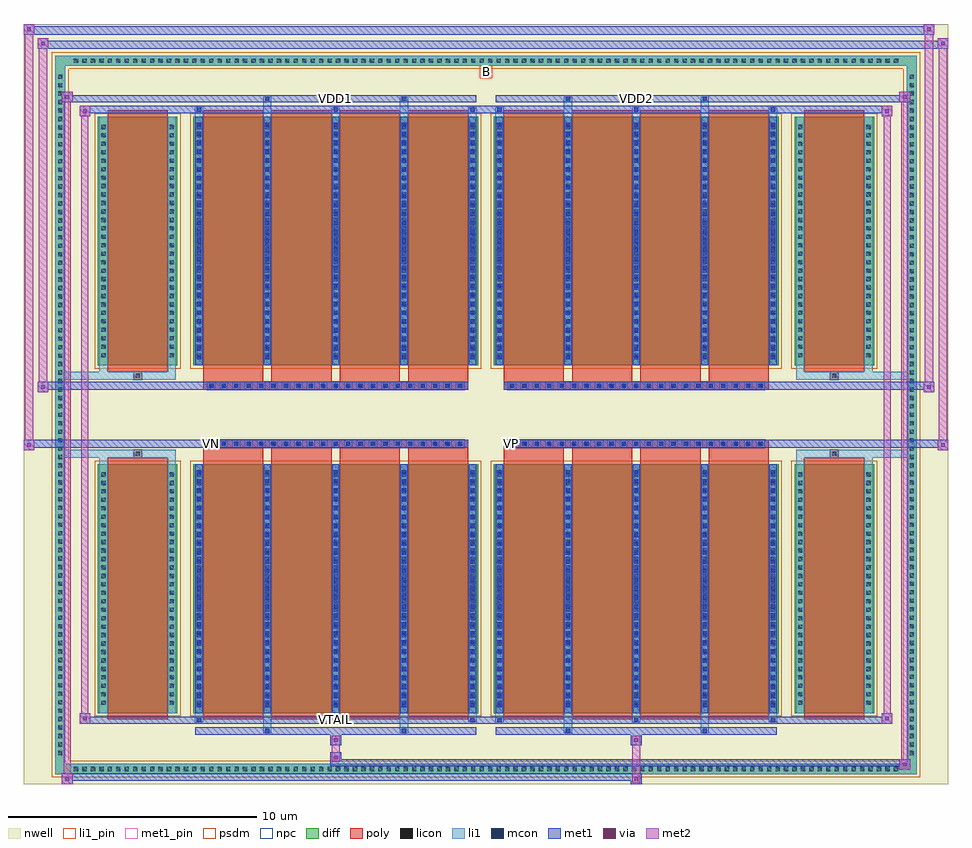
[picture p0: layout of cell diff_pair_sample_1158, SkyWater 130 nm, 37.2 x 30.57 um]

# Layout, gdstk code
import gdstk
lib = gdstk.Library(unit=1e-6, precision=5e-09)
def R(c, l, rs):  # rectangles x0, y0, x1, y1
    for r in rs: c.add(gdstk.rectangle(r[:2], r[2:], *l))
def A(c, l, x, y, w, h, nx, ny, dx, dy):  # array of equal rectangles
    R(c, l, [(x+i*dx, y+j*dy, x+i*dx+w, y+j*dy+h) for i in range(nx) for j in range(ny)])
def P(c, l, *ps):  # polygons
    for p in ps: c.add(gdstk.Polygon(p, *l))
nwell = (64, 20)
diff = (65, 20)
poly = (66, 20)
licon = (66, 44)
li1_pin = (67, 16)
li1 = (67, 20)
mcon = (67, 44)
met1_pin = (68, 16)
met1 = (68, 20)
via = (68, 44)
met2 = (69, 20)
psdm = (94, 20)
npc = (95, 20)

diff_pair_sample_1158 = lib.new_cell('diff_pair_sample_1158')
R(diff_pair_sample_1158, nwell, [(-18.6,-14.85,18.6,15.72), (-15.92,-13.04,-0.01,-0.8), (0.01,-13.04,15.92,-0.8), (-15.92,0.8,-0.01,13.04), (0.01,0.8,15.92,13.04)])
A(diff_pair_sample_1158, diff, -16.695, -14.45, 0.41, 0.41, 98, 2, 0.34, 28.49)
A(diff_pair_sample_1158, diff, -17.33, -13.805, 0.41, 0.41, 1, 81, 0, 0.34)
A(diff_pair_sample_1158, diff, 16.92, -13.805, 0.41, 0.41, 1, 81, 0, 0.34)
R(diff_pair_sample_1158, diff, [(-16.695,-14.45,16.695,-14.04), (-17.33,-13.805,-16.92,13.805), (16.92,-13.805,17.33,13.805), (-15.61,-11.995,-12.41,-1.985), (-11.77,-11.995,-0.32,-1.985), (0.32,-11.995,11.77,-1.985), (12.41,-11.995,15.61,-1.985), (-15.61,1.985,-12.41,11.995), (-11.77,1.985,-0.32,11.995), (0.32,1.985,11.77,11.995), (12.41,1.985,15.61,11.995), (-16.695,14.04,16.695,14.45)])
P(diff_pair_sample_1158, diff, [(17.33,14.45),(-17.33,14.45),(-17.33,-14.04),(-16.92,-14.04),(-16.92,14.04),(16.92,14.04),(16.92,-14.04),(-16.92,-14.04),(-17.33,-14.04),(-17.33,-14.45),(17.33,-14.45)])
A(diff_pair_sample_1158, poly, -11.38, -12.245, 2.42, 10.51, 4, 2, 2.75, 13.98)
A(diff_pair_sample_1158, poly, 0.71, -12.245, 2.42, 10.51, 4, 2, 2.75, 13.98)
A(diff_pair_sample_1158, poly, -11.38, -1.735, 2.42, 0.405, 4, 2, 2.75, 3.065)
A(diff_pair_sample_1158, poly, 0.71, -1.735, 2.42, 0.405, 4, 2, 2.75, 3.065)
A(diff_pair_sample_1158, poly, -11.21, -1.33, 0.33, 0.33, 21, 2, 0.5, 2.33)
A(diff_pair_sample_1158, poly, 0.88, -1.33, 0.33, 0.33, 21, 2, 0.5, 2.33)
R(diff_pair_sample_1158, poly, [(-15.22,-12.245,-12.8,-1.735), (12.8,-12.245,15.22,-1.735), (-14.175,-1.735,-13.845,-1.405), (-14.175,-1.735,-13.845,-1.405), (13.845,-1.735,14.175,-1.405), (13.845,-1.735,14.175,-1.405), (-11.38,-1.33,-0.71,-1), (0.71,-1.33,11.38,-1), (-11.38,1,-0.71,1.33), (0.71,1,11.38,1.33), (-14.175,1.405,-13.845,1.735), (-14.175,1.405,-13.845,1.735), (13.845,1.405,14.175,1.735), (13.845,1.405,14.175,1.735), (-15.22,1.735,-12.8,12.245), (12.8,1.735,15.22,12.245)])
A(diff_pair_sample_1158, licon, -16.575, -14.33, 0.17, 0.17, 98, 2, 0.34, 28.49)
A(diff_pair_sample_1158, licon, -17.21, -13.685, 0.17, 0.17, 1, 81, 0, 0.34)
A(diff_pair_sample_1158, licon, 17.04, -13.685, 0.17, 0.17, 1, 81, 0, 0.34)
A(diff_pair_sample_1158, licon, -15.47, -11.665, 0.17, 0.17, 1, 28, 0, 0.34)
A(diff_pair_sample_1158, licon, -12.72, -11.665, 0.17, 0.17, 1, 28, 0, 0.34)
A(diff_pair_sample_1158, licon, -11.63, -11.665, 0.17, 0.17, 5, 28, 2.75, 0.34)
A(diff_pair_sample_1158, licon, 0.46, -11.665, 0.17, 0.17, 5, 28, 2.75, 0.34)
A(diff_pair_sample_1158, licon, 12.55, -11.665, 0.17, 0.17, 1, 28, 0, 0.34)
A(diff_pair_sample_1158, licon, 15.3, -11.665, 0.17, 0.17, 1, 28, 0, 0.34)
A(diff_pair_sample_1158, licon, -11.13, -1.25, 0.17, 0.17, 21, 2, 0.5, 2.33)
A(diff_pair_sample_1158, licon, 0.96, -1.25, 0.17, 0.17, 21, 2, 0.5, 2.33)
A(diff_pair_sample_1158, licon, -15.47, 2.315, 0.17, 0.17, 1, 28, 0, 0.34)
A(diff_pair_sample_1158, licon, -12.72, 2.315, 0.17, 0.17, 1, 28, 0, 0.34)
A(diff_pair_sample_1158, licon, -11.63, 2.315, 0.17, 0.17, 5, 28, 2.75, 0.34)
A(diff_pair_sample_1158, licon, 0.46, 2.315, 0.17, 0.17, 5, 28, 2.75, 0.34)
A(diff_pair_sample_1158, licon, 12.55, 2.315, 0.17, 0.17, 1, 28, 0, 0.34)
A(diff_pair_sample_1158, licon, 15.3, 2.315, 0.17, 0.17, 1, 28, 0, 0.34)
R(diff_pair_sample_1158, licon, [(-14.095,-1.655,-13.925,-1.485), (13.925,-1.655,14.095,-1.485), (-14.095,1.485,-13.925,1.655), (13.925,1.485,14.095,1.655)])
R(diff_pair_sample_1158, li1_pin, [(-0.25,13.54,0.25,14.04)])
A(diff_pair_sample_1158, li1, -16.655, -14.41, 0.33, 0.33, 98, 2, 0.34, 28.49)
A(diff_pair_sample_1158, li1, -17.29, -13.765, 0.33, 0.33, 1, 81, 0, 0.34)
A(diff_pair_sample_1158, li1, 16.96, -13.765, 0.33, 0.33, 1, 81, 0, 0.34)
A(diff_pair_sample_1158, li1, -11.71, -12.37, 0.33, 0.375, 3, 2, 5.5, 24.365)
A(diff_pair_sample_1158, li1, -11.63, -12.37, 0.17, 0.17, 3, 2, 5.5, 24.57)
A(diff_pair_sample_1158, li1, 0.38, -12.37, 0.33, 0.375, 3, 2, 5.5, 24.365)
A(diff_pair_sample_1158, li1, 0.46, -12.37, 0.17, 0.17, 3, 2, 5.5, 24.57)
A(diff_pair_sample_1158, li1, -11.71, -11.995, 0.33, 10.01, 5, 2, 2.75, 13.98)
A(diff_pair_sample_1158, li1, 0.38, -11.995, 0.33, 10.01, 5, 2, 2.75, 13.98)
A(diff_pair_sample_1158, li1, -11.63, -11.755, 0.17, 0.17, 5, 27, 2.75, 0.36)
A(diff_pair_sample_1158, li1, -11.63, -11.755, 0.17, 9.53, 5, 2, 2.75, 13.98)
A(diff_pair_sample_1158, li1, 0.46, -11.755, 0.17, 0.17, 5, 27, 2.75, 0.36)
A(diff_pair_sample_1158, li1, 0.46, -11.755, 0.17, 9.53, 5, 2, 2.75, 13.98)
A(diff_pair_sample_1158, li1, -15.55, -11.745, 0.33, 0.33, 1, 28, 0, 0.34)
A(diff_pair_sample_1158, li1, -12.8, -11.745, 0.33, 0.33, 1, 28, 0, 0.34)
A(diff_pair_sample_1158, li1, -11.71, -11.745, 0.33, 0.33, 5, 28, 2.75, 0.34)
A(diff_pair_sample_1158, li1, 0.38, -11.745, 0.33, 0.33, 5, 28, 2.75, 0.34)
A(diff_pair_sample_1158, li1, 12.47, -11.745, 0.33, 0.33, 1, 28, 0, 0.34)
A(diff_pair_sample_1158, li1, 15.22, -11.745, 0.33, 0.33, 1, 28, 0, 0.34)
A(diff_pair_sample_1158, li1, -11.21, -1.33, 0.33, 0.33, 21, 2, 0.5, 2.33)
A(diff_pair_sample_1158, li1, 0.88, -1.33, 0.33, 0.33, 21, 2, 0.5, 2.33)
A(diff_pair_sample_1158, li1, -11.63, 2.225, 0.17, 0.17, 5, 27, 2.75, 0.36)
A(diff_pair_sample_1158, li1, 0.46, 2.225, 0.17, 0.17, 5, 27, 2.75, 0.36)
A(diff_pair_sample_1158, li1, -15.55, 2.235, 0.33, 0.33, 1, 28, 0, 0.34)
A(diff_pair_sample_1158, li1, -12.8, 2.235, 0.33, 0.33, 1, 28, 0, 0.34)
A(diff_pair_sample_1158, li1, -11.71, 2.235, 0.33, 0.33, 5, 28, 2.75, 0.34)
A(diff_pair_sample_1158, li1, 0.38, 2.235, 0.33, 0.33, 5, 28, 2.75, 0.34)
A(diff_pair_sample_1158, li1, 12.47, 2.235, 0.33, 0.33, 1, 28, 0, 0.34)
A(diff_pair_sample_1158, li1, 15.22, 2.235, 0.33, 0.33, 1, 28, 0, 0.34)
R(diff_pair_sample_1158, li1, [(-17.33,-14.45,-16.92,-14.04), (-17.33,-14.45,-16.92,-14.04), (-16.92,-14.45,16.92,-14.04), (16.92,-14.45,17.33,-14.04), (16.92,-14.45,17.33,-14.04), (-17.33,-14.04,-16.92,14.04), (16.92,-14.04,17.33,14.04), (-8.96,-12.8,-8.63,-11.995), (-8.88,-12.8,-8.71,-12.63), (-3.46,-12.8,-3.13,-11.995), (-3.38,-12.8,-3.21,-12.63), (3.13,-12.8,3.46,-11.995), (3.21,-12.8,3.38,-12.63), (8.63,-12.8,8.96,-11.995), (8.71,-12.8,8.88,-12.63), (-15.55,-11.995,-15.22,-1.985), (-12.8,-11.995,-12.47,-1.985), (12.47,-11.995,12.8,-1.985), (15.22,-11.995,15.55,-1.985), (-15.55,-1.985,-15.22,-1.405), (-12.8,-1.985,-12.47,-1.405), (12.47,-1.985,12.8,-1.405), (15.22,-1.985,15.55,-1.405), (-17.33,-1.735,-14.175,-1.405), (-15.55,-1.735,-14.175,-1.405), (-14.175,-1.735,-13.845,-1.405), (-13.845,-1.735,-12.47,-1.405), (12.47,-1.735,13.845,-1.405), (13.845,-1.735,14.175,-1.405), (13.845,-1.735,17.33,-1.405), (14.175,-1.735,15.55,-1.405), (-17.33,1.405,-14.175,1.735), (-15.55,1.405,-14.175,1.735), (-15.55,1.405,-15.22,1.985), (-14.175,1.405,-13.845,1.735), (-13.845,1.405,-12.47,1.735), (-12.8,1.405,-12.47,1.985), (12.47,1.405,13.845,1.735), (12.47,1.405,12.8,1.985), (13.845,1.405,14.175,1.735), (13.845,1.405,17.33,1.735), (14.175,1.405,15.55,1.735), (15.22,1.405,15.55,1.985), (-15.55,1.985,-15.22,11.995), (-12.8,1.985,-12.47,11.995), (12.47,1.985,12.8,11.995), (15.22,1.985,15.55,11.995), (-8.96,11.995,-8.63,12.8), (-3.46,11.995,-3.13,12.8), (3.13,11.995,3.46,12.8), (8.63,11.995,8.96,12.8), (-8.88,12.63,-8.71,12.8), (-3.38,12.63,-3.21,12.8), (3.21,12.63,3.38,12.8), (8.71,12.63,8.88,12.8), (-17.33,14.04,-16.92,14.45), (-17.33,14.04,-16.92,14.45), (-16.92,14.04,16.92,14.45), (16.92,14.04,17.33,14.45), (16.92,14.04,17.33,14.45)])
A(diff_pair_sample_1158, mcon, -11.63, -12.37, 0.17, 0.17, 3, 2, 5.5, 24.57)
A(diff_pair_sample_1158, mcon, 0.46, -12.37, 0.17, 0.17, 3, 2, 5.5, 24.57)
A(diff_pair_sample_1158, mcon, -11.63, -11.755, 0.17, 0.17, 5, 27, 2.75, 0.36)
A(diff_pair_sample_1158, mcon, 0.46, -11.755, 0.17, 0.17, 5, 27, 2.75, 0.36)
A(diff_pair_sample_1158, mcon, -11.13, -1.25, 0.17, 0.17, 21, 2, 0.5, 2.33)
A(diff_pair_sample_1158, mcon, 0.96, -1.25, 0.17, 0.17, 21, 2, 0.5, 2.33)
A(diff_pair_sample_1158, mcon, -11.63, 2.225, 0.17, 0.17, 5, 27, 2.75, 0.36)
A(diff_pair_sample_1158, mcon, 0.46, 2.225, 0.17, 0.17, 5, 27, 2.75, 0.36)
R(diff_pair_sample_1158, mcon, [(-8.88,-12.8,-8.71,-12.63), (-3.38,-12.8,-3.21,-12.63), (3.21,-12.8,3.38,-12.63), (8.71,-12.8,8.88,-12.63), (-8.88,12.63,-8.71,12.8), (-3.38,12.63,-3.21,12.8), (3.21,12.63,3.38,12.8), (8.71,12.63,8.88,12.8)])
R(diff_pair_sample_1158, met1_pin, [(-6.18,-12.41,-5.91,-12.14), (-11.18,-1.29,-10.91,-1.02), (0.91,-1.29,1.18,-1.02), (-6.18,12.59,-5.91,12.86), (5.91,12.59,6.18,12.86)])
A(diff_pair_sample_1158, met1, -11.69, -12.43, 0.29, 0.29, 3, 2, 5.5, 24.57)
A(diff_pair_sample_1158, met1, 0.4, -12.43, 0.29, 0.29, 3, 2, 5.5, 24.57)
A(diff_pair_sample_1158, met1, -11.69, -11.995, 0.29, 10.01, 5, 2, 2.75, 13.98)
A(diff_pair_sample_1158, met1, 0.4, -11.995, 0.29, 10.01, 5, 2, 2.75, 13.98)
A(diff_pair_sample_1158, met1, -11.69, -11.815, 0.29, 0.29, 5, 27, 2.75, 0.36)
A(diff_pair_sample_1158, met1, 0.4, -11.815, 0.29, 0.29, 5, 27, 2.75, 0.36)
A(diff_pair_sample_1158, met1, -11.19, -1.31, 0.29, 0.29, 21, 2, 0.5, 2.33)
A(diff_pair_sample_1158, met1, 0.9, -1.31, 0.29, 0.29, 21, 2, 0.5, 2.33)
A(diff_pair_sample_1158, met1, -11.69, 2.165, 0.29, 0.29, 5, 27, 2.75, 0.36)
A(diff_pair_sample_1158, met1, 0.4, 2.165, 0.29, 0.29, 5, 27, 2.75, 0.36)
R(diff_pair_sample_1158, met1, [(-17.06,-14.85,-16.63,-14.42), (5.83,-14.85,6.26,-14.42), (-17.06,-14.71,6.26,-14.42), (16.63,-14.28,17.06,-13.85), (-6.26,-14.14,17.06,-13.85), (-6.26,-14,-5.83,-13.57), (-6.26,-13.29,-5.83,-12.86), (5.83,-13.29,6.26,-12.86), (-11.69,-12.86,-0.4,-12.57), (-8.94,-12.86,-8.65,-12.57), (-3.44,-12.86,-3.15,-12.57), (0.4,-12.86,11.69,-12.57), (3.15,-12.86,3.44,-12.57), (8.65,-12.86,8.94,-12.57), (-16.35,-12.43,-15.92,-12), (-16.35,-12.43,-11.69,-12.14), (-11.69,-12.43,-0.4,-12.14), (-0.4,-12.43,0.4,-12.14), (0.4,-12.43,11.69,-12.14), (11.69,-12.43,16.35,-12.14), (15.92,-12.43,16.35,-12), (-18.6,-1.43,-18.17,-1), (18.17,-1.43,18.6,-1), (-18.6,-1.33,-0.71,-1), (-11.38,-1.33,-0.71,-1), (0.71,-1.33,11.38,-1), (0.71,-1.33,18.6,-1), (-18.03,0.9,-17.6,1.33), (17.6,0.9,18.03,1.33), (-18.03,1,-11.38,1.33), (-11.38,1,-0.71,1.33), (0.71,1,11.38,1.33), (11.38,1,18.03,1.33), (-16.35,12,-15.92,12.43), (15.92,12,16.35,12.43), (-16.35,12.14,-11.69,12.43), (-11.69,12.14,-0.4,12.43), (-0.4,12.14,0.4,12.43), (0.4,12.14,11.69,12.43), (11.69,12.14,16.35,12.43), (-17.06,12.57,-16.63,13), (-17.06,12.57,-11.69,12.86), (-11.69,12.57,-0.4,12.86), (-8.94,12.57,-8.65,12.86), (-3.44,12.57,-3.15,12.86), (0.4,12.57,11.69,12.86), (3.15,12.57,3.44,12.86), (8.65,12.57,8.94,12.86), (11.69,12.57,17.06,12.86), (16.63,12.57,17.06,13), (-18.03,14.72,-17.6,15.15), (-18.03,14.72,-15.92,15.05), (-15.92,14.72,15.92,15.05), (15.92,14.72,18.6,15.05), (18.17,14.72,18.6,15.15), (-18.6,15.29,-18.17,15.72), (-18.6,15.29,-15.92,15.62), (-15.92,15.29,15.92,15.62), (15.92,15.29,18.03,15.62), (17.6,15.29,18.03,15.72)])
R(diff_pair_sample_1158, via, [(-16.92,-14.71,-16.77,-14.56), (5.97,-14.71,6.12,-14.56), (16.77,-14.14,16.92,-13.99), (-6.12,-13.86,-5.97,-13.71), (-6.12,-13.15,-5.97,-13), (5.97,-13.15,6.12,-13), (-16.21,-12.29,-16.06,-12.14), (16.06,-12.29,16.21,-12.14), (-18.46,-1.29,-18.31,-1.14), (18.31,-1.29,18.46,-1.14), (-17.89,1.04,-17.74,1.19), (17.74,1.04,17.89,1.19), (-16.21,12.14,-16.06,12.29), (16.06,12.14,16.21,12.29), (-16.92,12.71,-16.77,12.86), (16.77,12.71,16.92,12.86), (-17.89,14.86,-17.74,15.01), (18.31,14.86,18.46,15.01), (-18.46,15.43,-18.31,15.58), (17.74,15.43,17.89,15.58)])
R(diff_pair_sample_1158, met2, [(-17.06,-14.85,-16.63,-14.42), (-16.99,-14.85,-16.7,13), (-16.7,-14.85,-16.63,-14.42), (-17.01,-14.8,-16.68,-14.47), (5.88,-14.8,6.21,-14.47), (5.88,-14.47,6.21,-13.24), (16.63,-14.28,17.06,-13.85), (16.7,-14.28,16.99,13), (16.99,-14.28,17.06,-13.85), (16.68,-14.23,17.01,-13.9), (-6.21,-13.95,-5.88,-13.62), (-6.21,-13.62,-5.88,-13.24), (-6.21,-13.24,-5.88,-12.91), (5.88,-13.24,6.21,-12.91), (-16.35,-12.43,-15.92,-12), (-16.28,-12.43,-15.99,12.43), (-15.99,-12.43,-15.92,-12), (15.92,-12.43,16.35,-12), (15.99,-12.43,16.28,12.43), (16.28,-12.43,16.35,-12), (-16.3,-12.38,-15.97,-12.05), (15.97,-12.38,16.3,-12.05), (-18.6,-1.43,-18.17,-1), (-18.55,-1.43,-18.22,15.72), (-18.22,-1.43,-18.17,-1), (18.17,-1.43,18.6,-1), (18.22,-1.43,18.55,15.15), (18.55,-1.43,18.6,-1), (-18.55,-1.38,-18.22,-1.05), (18.22,-1.38,18.55,-1.05), (-18.03,0.9,-17.6,1.33), (-17.98,0.9,-17.65,15.15), (-17.65,0.9,-17.6,1.33), (17.6,0.9,18.03,1.33), (17.65,0.9,17.98,15.72), (17.98,0.9,18.03,1.33), (-17.98,0.95,-17.65,1.28), (17.65,0.95,17.98,1.28), (-16.35,12,-15.92,12.43), (-15.99,12,-15.92,12.43), (15.92,12,16.35,12.43), (16.28,12,16.35,12.43), (-16.3,12.05,-15.97,12.38), (15.97,12.05,16.3,12.38), (-17.06,12.57,-16.63,13), (-16.7,12.57,-16.63,13), (16.63,12.57,17.06,13), (16.99,12.57,17.06,13), (-17.01,12.62,-16.68,12.95), (16.68,12.62,17.01,12.95), (-18.03,14.72,-17.6,15.15), (-17.65,14.72,-17.6,15.15), (18.17,14.72,18.6,15.15), (18.55,14.72,18.6,15.15), (-17.98,14.77,-17.65,15.1), (18.22,14.77,18.55,15.1), (-18.6,15.29,-18.17,15.72), (-18.22,15.29,-18.17,15.72), (17.6,15.29,18.03,15.72), (17.98,15.29,18.03,15.72), (-18.55,15.34,-18.22,15.67), (17.65,15.34,17.98,15.67)])
R(diff_pair_sample_1158, psdm, [(-15.74,-12.125,-12.28,-1.855), (-11.9,-12.125,-0.19,-1.855), (0.19,-12.125,11.9,-1.855), (12.28,-12.125,15.74,-1.855), (-15.74,1.855,-12.28,12.125), (-11.9,1.855,-0.19,12.125), (0.19,1.855,11.9,12.125), (12.28,1.855,15.74,12.125)])
P(diff_pair_sample_1158, psdm, [(17.46,14.58),(-17.46,14.58),(-17.46,-13.91),(-16.79,-13.91),(-16.79,13.91),(16.79,13.91),(16.79,-13.91),(-16.79,-13.91),(-17.46,-13.91),(-17.46,-14.58),(17.46,-14.58)])
A(diff_pair_sample_1158, npc, -11.23, -1.35, 0.37, 0.37, 21, 2, 0.5, 2.33)
A(diff_pair_sample_1158, npc, 0.86, -1.35, 0.37, 0.37, 21, 2, 0.5, 2.33)
R(diff_pair_sample_1158, npc, [(-14.195,-1.755,-13.825,-1.385), (13.825,-1.755,14.195,-1.385), (-11.23,-1.35,-10.36,-0.98), (-11.23,-1.35,-10.36,-0.98), (-10.73,-1.35,-9.86,-0.98), (-10.73,-1.35,-9.86,-0.98), (-10.23,-1.35,-9.36,-0.98), (-10.23,-1.35,-9.36,-0.98), (-9.73,-1.35,-8.86,-0.98), (-9.73,-1.35,-8.86,-0.98), (-9.23,-1.35,-8.36,-0.98), (-9.23,-1.35,-8.36,-0.98), (-8.73,-1.35,-7.86,-0.98), (-8.73,-1.35,-7.86,-0.98), (-8.23,-1.35,-7.36,-0.98), (-8.23,-1.35,-7.36,-0.98), (-7.73,-1.35,-6.86,-0.98), (-7.73,-1.35,-6.86,-0.98), (-7.23,-1.35,-6.36,-0.98), (-7.23,-1.35,-6.36,-0.98), (-6.73,-1.35,-5.86,-0.98), (-6.73,-1.35,-5.86,-0.98), (-6.23,-1.35,-5.36,-0.98), (-6.23,-1.35,-5.36,-0.98), (-5.73,-1.35,-4.86,-0.98), (-5.73,-1.35,-4.86,-0.98), (-5.23,-1.35,-4.36,-0.98), (-5.23,-1.35,-4.36,-0.98), (-4.73,-1.35,-3.86,-0.98), (-4.73,-1.35,-3.86,-0.98), (-4.23,-1.35,-3.36,-0.98), (-4.23,-1.35,-3.36,-0.98), (-3.73,-1.35,-2.86,-0.98), (-3.73,-1.35,-2.86,-0.98), (-3.23,-1.35,-2.36,-0.98), (-3.23,-1.35,-2.36,-0.98), (-2.73,-1.35,-1.86,-0.98), (-2.73,-1.35,-1.86,-0.98), (-2.23,-1.35,-1.36,-0.98), (-2.23,-1.35,-1.36,-0.98), (-1.73,-1.35,-0.86,-0.98), (-1.73,-1.35,-0.86,-0.98), (0.86,-1.35,1.73,-0.98), (0.86,-1.35,1.73,-0.98), (1.36,-1.35,2.23,-0.98), (1.36,-1.35,2.23,-0.98), (1.86,-1.35,2.73,-0.98), (1.86,-1.35,2.73,-0.98), (2.36,-1.35,3.23,-0.98), (2.36,-1.35,3.23,-0.98), (2.86,-1.35,3.73,-0.98), (2.86,-1.35,3.73,-0.98), (3.36,-1.35,4.23,-0.98), (3.36,-1.35,4.23,-0.98), (3.86,-1.35,4.73,-0.98), (3.86,-1.35,4.73,-0.98), (4.36,-1.35,5.23,-0.98), (4.36,-1.35,5.23,-0.98), (4.86,-1.35,5.73,-0.98), (4.86,-1.35,5.73,-0.98), (5.36,-1.35,6.23,-0.98), (5.36,-1.35,6.23,-0.98), (5.86,-1.35,6.73,-0.98), (5.86,-1.35,6.73,-0.98), (6.36,-1.35,7.23,-0.98), (6.36,-1.35,7.23,-0.98), (6.86,-1.35,7.73,-0.98), (6.86,-1.35,7.73,-0.98), (7.36,-1.35,8.23,-0.98), (7.36,-1.35,8.23,-0.98), (7.86,-1.35,8.73,-0.98), (7.86,-1.35,8.73,-0.98), (8.36,-1.35,9.23,-0.98), (8.36,-1.35,9.23,-0.98), (8.86,-1.35,9.73,-0.98), (8.86,-1.35,9.73,-0.98), (9.36,-1.35,10.23,-0.98), (9.36,-1.35,10.23,-0.98), (9.86,-1.35,10.73,-0.98), (9.86,-1.35,10.73,-0.98), (10.36,-1.35,11.23,-0.98), (10.36,-1.35,11.23,-0.98), (-11.23,0.98,-10.36,1.35), (-11.23,0.98,-10.36,1.35), (-10.73,0.98,-9.86,1.35), (-10.73,0.98,-9.86,1.35), (-10.23,0.98,-9.36,1.35), (-10.23,0.98,-9.36,1.35), (-9.73,0.98,-8.86,1.35), (-9.73,0.98,-8.86,1.35), (-9.23,0.98,-8.36,1.35), (-9.23,0.98,-8.36,1.35), (-8.73,0.98,-7.86,1.35), (-8.73,0.98,-7.86,1.35), (-8.23,0.98,-7.36,1.35), (-8.23,0.98,-7.36,1.35), (-7.73,0.98,-6.86,1.35), (-7.73,0.98,-6.86,1.35), (-7.23,0.98,-6.36,1.35), (-7.23,0.98,-6.36,1.35), (-6.73,0.98,-5.86,1.35), (-6.73,0.98,-5.86,1.35), (-6.23,0.98,-5.36,1.35), (-6.23,0.98,-5.36,1.35), (-5.73,0.98,-4.86,1.35), (-5.73,0.98,-4.86,1.35), (-5.23,0.98,-4.36,1.35), (-5.23,0.98,-4.36,1.35), (-4.73,0.98,-3.86,1.35), (-4.73,0.98,-3.86,1.35), (-4.23,0.98,-3.36,1.35), (-4.23,0.98,-3.36,1.35), (-3.73,0.98,-2.86,1.35), (-3.73,0.98,-2.86,1.35), (-3.23,0.98,-2.36,1.35), (-3.23,0.98,-2.36,1.35), (-2.73,0.98,-1.86,1.35), (-2.73,0.98,-1.86,1.35), (-2.23,0.98,-1.36,1.35), (-2.23,0.98,-1.36,1.35), (-1.73,0.98,-0.86,1.35), (-1.73,0.98,-0.86,1.35), (0.86,0.98,1.73,1.35), (0.86,0.98,1.73,1.35), (1.36,0.98,2.23,1.35), (1.36,0.98,2.23,1.35), (1.86,0.98,2.73,1.35), (1.86,0.98,2.73,1.35), (2.36,0.98,3.23,1.35), (2.36,0.98,3.23,1.35), (2.86,0.98,3.73,1.35), (2.86,0.98,3.73,1.35), (3.36,0.98,4.23,1.35), (3.36,0.98,4.23,1.35), (3.86,0.98,4.73,1.35), (3.86,0.98,4.73,1.35), (4.36,0.98,5.23,1.35), (4.36,0.98,5.23,1.35), (4.86,0.98,5.73,1.35), (4.86,0.98,5.73,1.35), (5.36,0.98,6.23,1.35), (5.36,0.98,6.23,1.35), (5.86,0.98,6.73,1.35), (5.86,0.98,6.73,1.35), (6.36,0.98,7.23,1.35), (6.36,0.98,7.23,1.35), (6.86,0.98,7.73,1.35), (6.86,0.98,7.73,1.35), (7.36,0.98,8.23,1.35), (7.36,0.98,8.23,1.35), (7.86,0.98,8.73,1.35), (7.86,0.98,8.73,1.35), (8.36,0.98,9.23,1.35), (8.36,0.98,9.23,1.35), (8.86,0.98,9.73,1.35), (8.86,0.98,9.73,1.35), (9.36,0.98,10.23,1.35), (9.36,0.98,10.23,1.35), (9.86,0.98,10.73,1.35), (9.86,0.98,10.73,1.35), (10.36,0.98,11.23,1.35), (10.36,0.98,11.23,1.35), (-14.195,1.385,-13.825,1.755), (13.825,1.385,14.195,1.755)])
diff_pair_sample_1158.add(gdstk.Label('VTAIL', (-6.045,-12.275), layer=68, texttype=5))
diff_pair_sample_1158.add(gdstk.Label('VN', (-11.045,-1.155), layer=68, texttype=5))
diff_pair_sample_1158.add(gdstk.Label('VP', (1.045,-1.155), layer=68, texttype=5))
diff_pair_sample_1158.add(gdstk.Label('B', (0,13.79), layer=67, texttype=5))
diff_pair_sample_1158.add(gdstk.Label('VDD2', (6.045,12.725), layer=68, texttype=5))
diff_pair_sample_1158.add(gdstk.Label('VDD1', (-6.045,12.725), layer=68, texttype=5))

lib.write_gds('diff_pair_sample_1158.gds')
